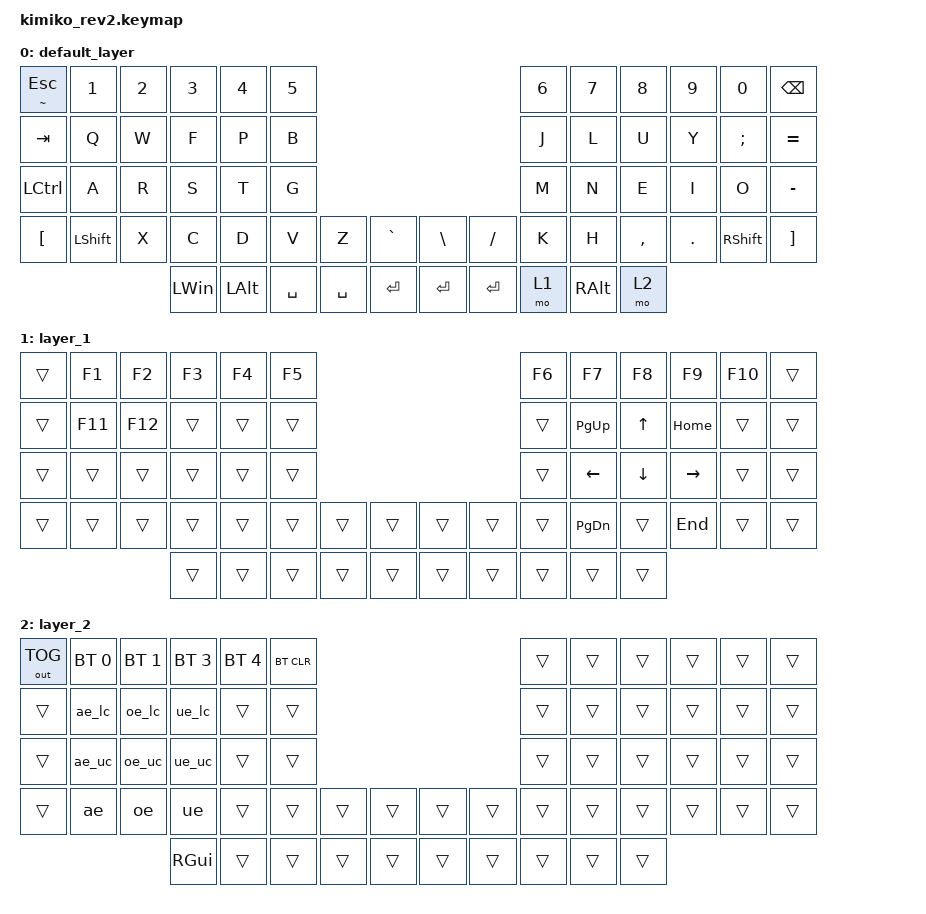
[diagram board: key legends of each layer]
#include <behaviors.dtsi>
#include <dt-bindings/zmk/bt.h>
#include <dt-bindings/zmk/keys.h>
#include <dt-bindings/zmk/outputs.h>

/ {
    macros {
        ae_lc: de_ae_lower_case {
            compatible = "zmk,behavior-macro";
            #binding-cells = <0>;
            wait-ms = <40>;
            tap-ms = <40>;
            bindings =
                <&macro_press>,
                <&kp LALT>,
                <&macro_tap>,
                <&kp KP_N1 &kp KP_N3 &kp KP_N2>,
                <&macro_release>,
                <&kp LALT>;
        };

        ae_uc: de_ae_upper_case {
            compatible = "zmk,behavior-macro";
            #binding-cells = <0>;
            wait-ms = <40>;
            tap-ms = <40>;
            bindings =
                <&macro_press>,
                <&kp LALT>,
                <&macro_tap>,
                <&kp KP_N1 &kp KP_N4 &kp KP_N2>,
                <&macro_release>,
                <&kp LALT>;
        };

        oe_lc: de_oe_lower_case {
            compatible = "zmk,behavior-macro";
            #binding-cells = <0>;
            wait-ms = <40>;
            tap-ms = <40>;
            bindings =
                <&macro_press>,
                <&kp LALT>,
                <&macro_tap>,
                <&kp KP_N1 &kp KP_N4 &kp KP_N8>,
                <&macro_release>,
                <&kp LALT>;
        };

        oe_uc: de_oe_upper_case {
            compatible = "zmk,behavior-macro";
            #binding-cells = <0>;
            wait-ms = <40>;
            tap-ms = <40>;
            bindings =
                <&macro_press>,
                <&kp LALT>,
                <&macro_tap>,
                <&kp KP_N1 &kp KP_N5 &kp KP_N3>,
                <&macro_release>,
                <&kp LALT>;
        };

        ue_lc: de_ue_lower_case {
            compatible = "zmk,behavior-macro";
            #binding-cells = <0>;
            wait-ms = <40>;
            tap-ms = <40>;
            bindings =
                <&macro_press>,
                <&kp LALT>,
                <&macro_tap>,
                <&kp KP_N1 &kp KP_N2 &kp KP_N9>,
                <&macro_release>,
                <&kp LALT>;
        };

        ue_uc: de_ue_upper_case {
            compatible = "zmk,behavior-macro";
            #binding-cells = <0>;
            wait-ms = <40>;
            tap-ms = <40>;
            bindings =
                <&macro_press>,
                <&kp LALT>,
                <&macro_tap>,
                <&kp KP_N1 &kp KP_N5 &kp KP_N4>,
                <&macro_release>,
                <&kp LALT>;
        };
    };

    behaviors {
        td_ae: td_de_ae {
            compatible = "zmk,behavior-tap-dance";
            #binding-cells = <0>;
            tapping-term-ms = <200>;
            bindings = <&kp A>, <&ae_lc>, <&ae_uc>;
        };

        td_oe: td_de_oe {
            compatible = "zmk,behavior-tap-dance";
            #binding-cells = <0>;
            tapping-term-ms = <200>;
            bindings = <&kp O>, <&oe_lc>, <&oe_uc>;
        };

        td_ue: td_de_ue {
            compatible = "zmk,behavior-tap-dance";
            #binding-cells = <0>;
            tapping-term-ms = <200>;
            bindings = <&kp U>, <&ue_lc>, <&ue_uc>;
        };

        ae: de_ae {
            compatible = "zmk,behavior-mod-morph";
            #binding-cells = <0>;
            bindings = <&ae_lc>, <&ae_uc>;

            mods = <(MOD_LCTL|MOD_RCTL|MOD_LGUI|MOD_RGUI|MOD_LSFT|MOD_RSFT)>;
        };

        oe: de_oe {
            compatible = "zmk,behavior-mod-morph";
            #binding-cells = <0>;
            bindings = <&oe_lc>, <&oe_uc>;

            mods = <(MOD_LSFT|MOD_RSFT)>;
        };

        ue: de_ue {
            compatible = "zmk,behavior-mod-morph";
            #binding-cells = <0>;
            bindings = <&ue_lc>, <&ue_uc>;

            mods = <(MOD_LSFT|MOD_RSFT)>;
        };

        ht_tp: hold_tap_tap_preferred {
            compatible = "zmk,behavior-hold-tap";
            #binding-cells = <2>;
            flavor = "tap-preferred";
            tapping-term-ms = <200>;
            quick-tap-ms = <200>;
            require-prior-idle-ms = <400>;
            bindings = <&kp>, <&kp>;
        };
    };

    keymap {
        compatible = "zmk,keymap";

        default_layer {
            bindings = <
&mt TILDE ESC     &kp NUMBER_1    &kp NUMBER_2  &kp NUMBER_3  &kp NUMBER_4  &kp N5                                                     &kp NUMBER_6  &kp N7         &kp N8     &kp N9   &kp N0           &kp BACKSPACE
&kp TAB           &kp Q           &kp W         &kp F         &kp P         &kp B                                                      &kp J         &kp L          &kp U      &kp Y    &kp SEMICOLON    &kp EQUAL
&kp LEFT_CONTROL  &kp A           &kp R         &kp S         &kp T         &kp G                                                      &kp M         &kp N          &kp E      &kp I    &kp O            &kp MINUS
&kp LEFT_BRACKET  &kp LEFT_SHIFT  &kp X         &kp C         &kp D         &kp V      &kp Z      &kp GRAVE  &kp BACKSLASH  &kp SLASH  &kp K         &kp H          &kp COMMA  &kp DOT  &kp RIGHT_SHIFT  &kp RIGHT_BRACKET
                                                &kp LEFT_WIN  &kp LEFT_ALT  &kp SPACE  &kp SPACE  &kp ENTER  &kp ENTER      &kp ENTER  &mo 1         &kp RIGHT_ALT  &mo 2
            >;
        };

        layer_1 {
            bindings = <
&trans  &kp F1   &kp F2   &kp F3  &kp F4  &kp F5                                  &kp F6  &kp F7          &kp F8        &kp F9     &kp F10  &trans
&trans  &kp F11  &kp F12  &trans  &trans  &trans                                  &trans  &kp PAGE_UP     &kp UP_ARROW  &kp HOME   &trans   &trans
&trans  &trans   &trans   &trans  &trans  &trans                                  &trans  &kp LEFT_ARROW  &kp DOWN      &kp RIGHT  &trans   &trans
&trans  &trans   &trans   &trans  &trans  &trans  &trans  &trans  &trans  &trans  &trans  &kp PAGE_DOWN   &trans        &kp END    &trans   &trans
                          &trans  &trans  &trans  &trans  &trans  &trans  &trans  &trans  &trans          &trans
            >;
        };

        layer_2 {
            bindings = <
&out OUT_TOG  &bt BT_SEL 0  &bt BT_SEL 1  &bt BT_SEL 3  &bt BT_SEL 4  &bt BT_CLR                                  &trans  &trans  &trans  &trans  &trans  &trans
&trans        &ae_lc        &oe_lc        &ue_lc        &trans        &trans                                      &trans  &trans  &trans  &trans  &trans  &trans
&trans        &ae_uc        &oe_uc        &ue_uc        &trans        &trans                                      &trans  &trans  &trans  &trans  &trans  &trans
&trans        &ae           &oe           &ue           &trans        &trans      &trans  &trans  &trans  &trans  &trans  &trans  &trans  &trans  &trans  &trans
                                          &kp RGUI      &trans        &trans      &trans  &trans  &trans  &trans  &trans  &trans  &trans
            >;
        };
    };
};
